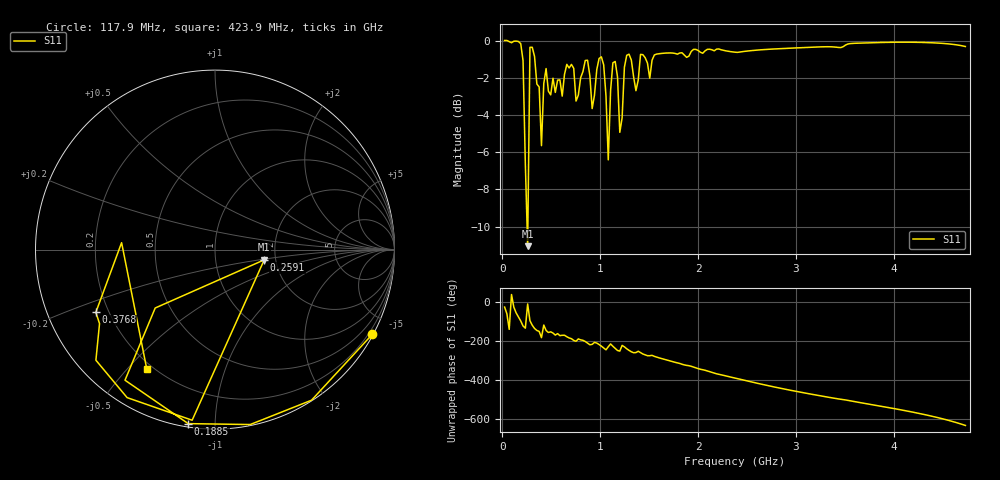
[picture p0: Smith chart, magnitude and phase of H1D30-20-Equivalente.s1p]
!Keysight Technologies N9923A: A.08.19
!Date: Thursday, 16 January 2020 11:30:00
!TimeZone: (GMT-03:00) Brasilia!Model: N9923A
!Serial: MY51491501
!GPS Latitude:
!GPS Longitude:
!GPS TimeStamp: 0001-01-01 00:00:00Z
!GPS Seconds Since Last Read: 0
!CHECKSUM:1078980270
!Correction: S11(ON U)
!S1P File: Measurement: S11:
# Hz S DB R 50
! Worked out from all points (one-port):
!   201 points, 23.74 MHz to 4.731 GHz, reference 50 ohm
!   lowest |S11| = -11.1 dB at 259.1 MHz (marker M1), VSWR 1.78, Z = 86.9 - j10.8 ohm
!   |S11| at or under -10 dB: 253.5 MHz to 261.4 MHz (7.933 MHz wide, 3.08 % of centre)
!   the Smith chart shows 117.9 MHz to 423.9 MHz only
!   S11 on the Smith chart (normalised r, x): 117.9 MHz: 0.03, -3.98; 188.5 MHz: 0.02, -0.86; 259.1 MHz: 1.74, -0.22; 376.8 MHz: 0.15, -0.24; 423.9 MHz: 0.18, -0.57
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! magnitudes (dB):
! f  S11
! 23.74 MHz  0.0
! 117.9 MHz  0.0
! 188.5 MHz  -0.2
! 212 MHz  -1.1
! 259.1 MHz  -11.1
! 282.6 MHz  -0.4
! 376.8 MHz  -2.5
! 400.3 MHz  -5.6
! 423.9 MHz  -2.3
! 612.1 MHz  -3.0
! 659.2 MHz  -1.3
! 871 MHz  -1.1
! 918.1 MHz  -3.7
! 1.012 GHz  -0.9
! 1.059 GHz  -3.0
! 1.083 GHz  -6.4
! 1.106 GHz  -2.7
! 1.153 GHz  -1.1
! 1.201 GHz  -4.9
! 1.271 GHz  -0.8
! 1.365 GHz  -2.7
! 1.412 GHz  -0.7
! 1.789 GHz  -0.7
! 2.377 GHz  -0.6
! 2.966 GHz  -0.4
! 3.554 GHz  -0.2
! 4.143 GHz  -0.1
! 4.731 GHz  -0.3
